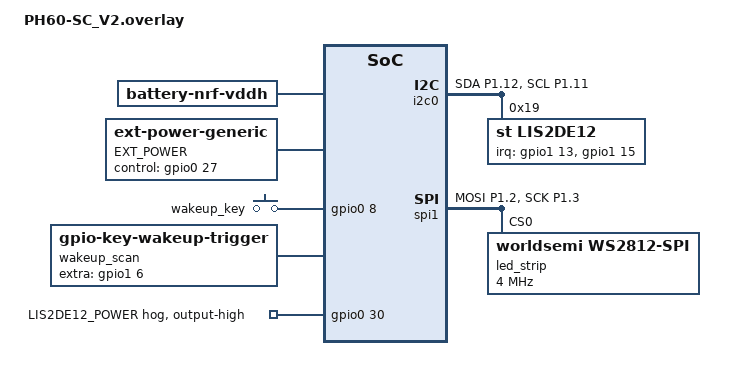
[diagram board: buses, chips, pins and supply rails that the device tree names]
/*
 * Copyright (c) 2025 Team PHDesign
 *
 * SPDX-License-Identifier: MIT
 */

#include "PH60-SC_V2.dtsi"
#include <dt-bindings/led/led.h>

/ {
	chosen {
		zmk,imu = &lis2de12;
	};
};

&pinctrl {
	i2c0_default: i2c0_default {
		group1 {
			psels = <NRF_PSEL(TWIM_SDA, 1, 12) NRF_PSEL(TWIM_SCL, 1, 11)>;
			bias-pull-up;
		};
	};

	i2c0_sleep: i2c0_sleep {
		group1 {
			psels = <NRF_PSEL(TWIM_SDA, 1, 12) NRF_PSEL(TWIM_SCL, 1, 11)>;
			low-power-enable;
		};
	};

	spi1_default: spi1_default {
		group1 {
				psels = <NRF_PSEL(SPIM_MOSI, 1, 2) NRF_PSEL(SPIM_SCK, 1, 3)>;
		};
	};

	spi1_sleep: spi1_sleep {
		group1 {
				psels = <NRF_PSEL(SPIM_MOSI, 1, 2) NRF_PSEL(SPIM_SCK, 1, 3)>;
			low-power-enable;
		};
	};
};

&gpio0 {
	lis2de12_power: lis2de12-power {
		gpio-hog;
		gpios = <30 GPIO_ACTIVE_HIGH>;
		output-high;
		line-name = "LIS2DE12_POWER";
	};
};

&i2c0 {
	status = "okay";
	pinctrl-0 = <&i2c0_default>;
	pinctrl-1 = <&i2c0_sleep>;
	pinctrl-names = "default", "sleep";

	lis2de12: lis2de12@19 {
		compatible = "st,lis2de12";
		reg = <0x19>;
		irq-gpios = <&gpio1 13 GPIO_ACTIVE_HIGH>,
				 <&gpio1 15 GPIO_ACTIVE_HIGH>;
	};
};

&spi1 {
	compatible = "nordic,nrf-spim";
	status = "okay";

	pinctrl-0 = <&spi1_default>;
	pinctrl-1 = <&spi1_sleep>;
	pinctrl-names = "default", "sleep";

	led_strip: ws2812@0 {
		compatible = "worldsemi,ws2812-spi";

		/* SPI */
		reg = <0>; /* ignored, but necessary for SPI bindings */
		spi-max-frequency = <4000000>;

		/* WS2812 */
		chain-length = <61>; /* 61 keys, each with one RGB LED */
		spi-one-frame = <0x70>;
		spi-zero-frame = <0x40>;
		color-mapping = <LED_COLOR_ID_GREEN
				 LED_COLOR_ID_RED
				 LED_COLOR_ID_BLUE>;
	};
};

/ {
	chosen {
		zmk,battery = &vddh;
		zmk,underglow = &led_strip;
		zmk,ext-power = &rgb_power;
	};

	vddh: vddh {
		compatible = "zmk,battery-nrf-vddh";
	};

	rgb_power: ext-power {
		compatible = "zmk,ext-power-generic";
		label = "EXT_POWER";
		status = "okay";
		init-delay-ms = <50>;
		control-gpios = <&gpio0 27 GPIO_ACTIVE_HIGH>;
	};

	keys {
		compatible = "gpio-keys";
		wakeup_key: wakeup_key {
			gpios = <&gpio0 8 (GPIO_ACTIVE_HIGH | GPIO_PULL_DOWN)>;  // Row 2
		};
	};

	wakeup_scan: wakeup_scan {
		compatible = "zmk,gpio-key-wakeup-trigger";
		trigger = <&wakeup_key>;
		wakeup-source;
		extra-gpios = <&gpio1 6 GPIO_ACTIVE_HIGH>;  // Column 12
	};

	soft_off_wakers {
		compatible = "zmk,soft-off-wakeup-sources";
		wakeup-sources = <&wakeup_scan>;
	};
};


